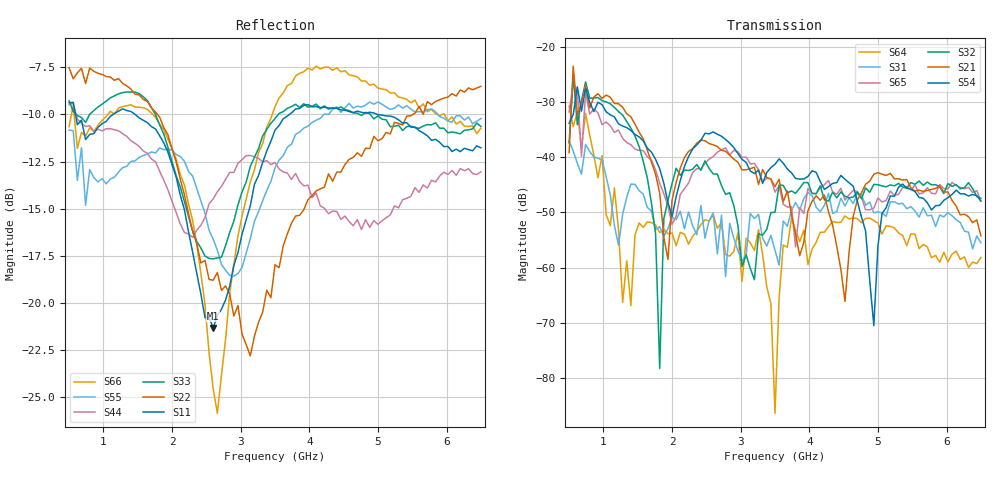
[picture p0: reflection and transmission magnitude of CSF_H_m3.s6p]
!Keysight Technologies,M9804A,MY58100912,A.14.10.03
!Date: Thursday, April 27, 2023 10:28:33
!Correction: S11(C  6-Port  )
!S12(C  6-Port  )
!S13(C  6-Port  )
!S14(C  6-Port  )
!S15(C  6-Port  )
!S16(C  6-Port  )
!S21(C  6-Port  )
!S22(C  6-Port  )
!S23(C  6-Port  )
!S24(C  6-Port  )
!S25(C  6-Port  )
!S26(C  6-Port  )
!S31(C  6-Port  )
!S32(C  6-Port  )
!S33(C  6-Port  )
!S34(C  6-Port  )
!S35(C  6-Port  )
!S36(C  6-Port  )
!S41(C  6-Port  )
!S42(C  6-Port  )
!S43(C  6-Port  )
!S44(C  6-Port  )
!S45(C  6-Port  )
!S46(C  6-Port  )
!S51(C  6-Port  )
!S52(C  6-Port  )
!S53(C  6-Port  )
!S54(C  6-Port  )
!S55(C  6-Port  )
!S56(C  6-Port  )
!S61(C  6-Port  )
!S62(C  6-Port  )
!S63(C  6-Port  )
!S64(C  6-Port  )
!S65(C  6-Port  )
!S66(C  6-Port  )
!S6P File: Measurement: :
# Hz S  RI  R 50
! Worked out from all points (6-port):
!   101 points, 500 MHz to 6.5 GHz, reference 50 ohm
!   strongest paths, dB at 500 MHz, 2 GHz, 3.5 GHz, 5 GHz, 6.5 GHz:
!     S54: -33.9, -50.8, -41.3, -56.1, -47.9
!     S21: -39.2, -47.8, -45.3, -42.8, -54.2
!     S32: -37.4, -44.8, -50.0, -45.0, -47.4
!     S65: -31.8, -52.1, -46.3, -47.4, -47.9
!     S31: -37.1, -50.9, -56.8, -49.9, -55.5
!     S64: -30.8, -53.7, -86.3, -51.9, -58.1
!   lowest |S11| = -21.3 dB at 2.6 GHz (marker M1), VSWR 1.19, Z = 42.4 + j2.3 ohm
!   |S11| at or under -10 dB: 592.3 MHz to 1.14 GHz (547.8 MHz wide, 63.2 % of centre); 1.462 GHz to 3.71 GHz (2.248 GHz wide, 86.9 % of centre); 4.991 GHz to end of sweep
